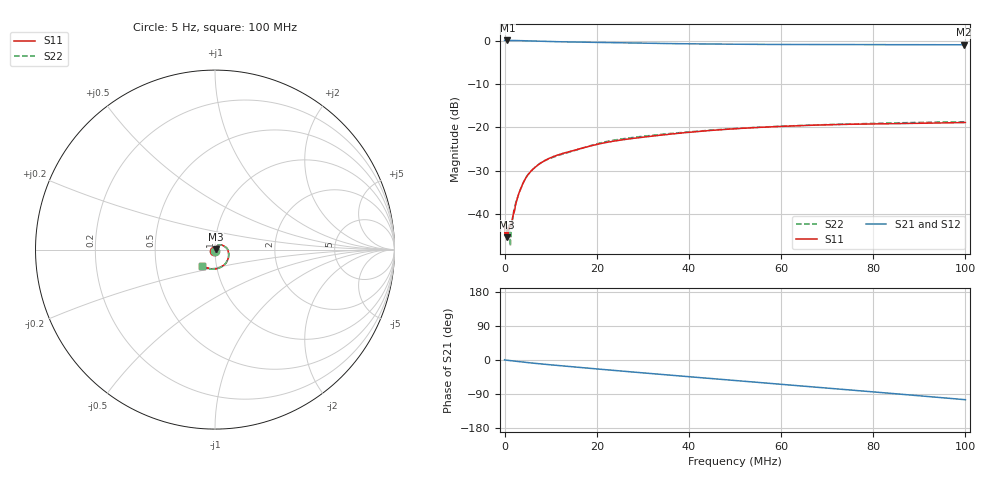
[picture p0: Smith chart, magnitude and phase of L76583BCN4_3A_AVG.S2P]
!Agilent Technologies,E5061B,MY49102235,A.02.00
!Date: Tue Jul 11 17:02:26 2023
!Data & Calibration Information:
!Freq	S11:SOLT2(ON)	S21:SOLT2(ON)	S12:SOLT2(ON)	S22:SOLT2(ON)
# Hz S RI R 50
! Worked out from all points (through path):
!   1600 points, 5 Hz to 100 MHz, reference 50 ohm
!   highest |S21| = 0.02 dB at 625.4 kHz (marker M1); lowest = -1.0 dB at 99.75 MHz (marker M2)
!   group delay of S21, straight-line fit = 2.84 ns
!   lowest |S11| = -45.4 dB at 500.3 kHz (marker M3), VSWR 1.01, Z = 50.5 + j0.255 ohm
!   |S11| at or under -10 dB: start of sweep to end of sweep
!   |S22| runs from -47.4 to -18.7 dB; largest |S21 - S12| = 0.0027
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5  -0.00523 -0.00564  1.002 0.00805  1.001 0.0102  -0.00145 -0.00755
500317.7  0.00474 0.00253  1.001 -0.0107  1.001 -0.0106  0.00495 0.000955
625395.8  0.00529 0.00311  1.002 -0.0142  1.002 -0.0138  0.00627 0.00274
938091.3  0.00461 0.00516  1.001 -0.0207  1.001 -0.0202  0.00619 0.00457
1313326  0.00499 0.0056  1.001 -0.0294  1 -0.0294  0.00318 0.00405
1688560  0.00459 0.0074  0.9998 -0.0395  1.001 -0.0395  0.00431 0.00656
1938717  0.00408 0.00938  1.001 -0.0455  1 -0.0448  0.00439 0.00963
2251412  0.00455 0.0104  0.9993 -0.0539  0.9989 -0.0527  0.005 0.0112
2814264  0.00661 0.0141  0.9965 -0.0672  0.9967 -0.0664  0.00564 0.0143
3439655  0.00849 0.0173  0.9946 -0.0818  0.9948 -0.0817  0.00736 0.0177
4190124  0.0112 0.0209  0.9909 -0.0998  0.9907 -0.0994  0.0106 0.0211
5565983  0.0177 0.0247  0.982 -0.1296  0.9818 -0.1293  0.0175 0.0251
7754851  0.0276 0.0266  0.9667 -0.1733  0.9663 -0.173  0.0273 0.0272
9631024  0.0351 0.026  0.953 -0.208  0.9526 -0.2078  0.0345 0.026
1.669794e7  0.0545 0.0169  0.8991 -0.3273  0.8989 -0.3269  0.0542 0.0168
2.345216e7  0.0686 0.00276  0.8391 -0.4304  0.8389 -0.43  0.0705 0.00162
3.333334e7  0.0761 -0.026  0.7364 -0.5616  0.7363 -0.5613  0.0774 -0.0272
5.003127e7  0.0604 -0.0747  0.532 -0.7347  0.5319 -0.7344  0.0603 -0.0756
6.672921e7  0.0168 -0.104  0.296 -0.848  0.2963 -0.8478  0.0175 -0.1044
8.33646e7  -0.0294 -0.1057  0.0378 -0.8944  0.0378 -0.8944  -0.0292 -0.1078
9.974984e7  -0.0692 -0.0896  -0.224 -0.865  -0.2236 -0.8651  -0.0693 -0.0927
1e8  -0.0697 -0.0893  -0.2279 -0.8641  -0.2276 -0.8641  -0.07 -0.0922
